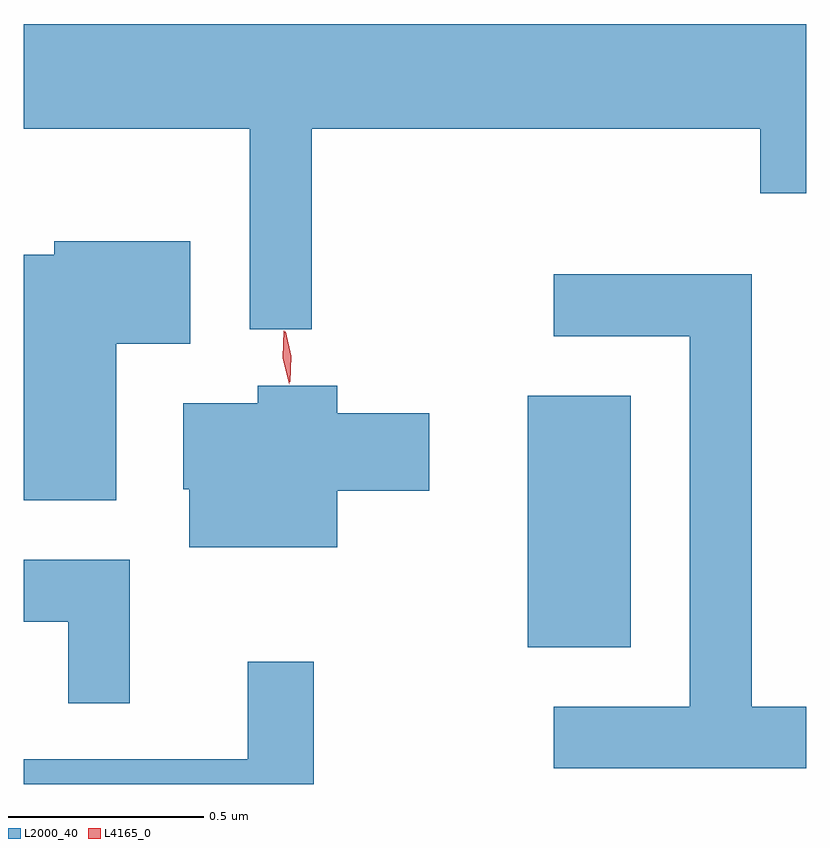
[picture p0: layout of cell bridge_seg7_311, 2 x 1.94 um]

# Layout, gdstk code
import gdstk
lib = gdstk.Library(unit=1e-6, precision=1e-09)
def R(c, l, rs):  # rectangles x0, y0, x1, y1
    for r in rs: c.add(gdstk.rectangle(r[:2], r[2:], *l))
def P(c, l, *ps):  # polygons
    for p in ps: c.add(gdstk.Polygon(p, *l))
L2000_40 = (2000, 40)
L4165_0 = (4165, 0)

bridge_seg7_311 = lib.new_cell('bridge_seg7_311')
R(bridge_seg7_311, L2000_40, [(1282.326,1737.411,1282.589,1738.054)])
P(bridge_seg7_311, L2000_40, [(1281.774,1738.736),(1282.921,1738.736),(1282.921,1738.571),(1283.038,1738.571),(1283.038,1739.004),(1281.038,1739.004),(1281.038,1738.736),(1281.616,1738.736),(1281.616,1738.223),(1281.774,1738.223)],
  [(1281.274,1738.186),(1281.464,1738.186),(1281.464,1738.449),(1281.116,1738.449),(1281.116,1738.414),(1281.038,1738.414),(1281.038,1737.786),(1281.274,1737.786)],
  [(1283.038,1737.259),(1282.899,1737.259),(1282.899,1738.364),(1282.393,1738.364),(1282.393,1738.206),(1282.741,1738.206),(1282.741,1737.259),(1282.393,1737.259),(1282.393,1737.101),(1283.038,1737.101)],
  [(1281.839,1737.811),(1282.074,1737.811),(1282.074,1738.009),(1281.839,1738.009),(1281.839,1738.079),(1281.636,1738.079),(1281.636,1738.034),(1281.446,1738.034),(1281.446,1737.815),(1281.461,1737.815),(1281.461,1737.666),(1281.839,1737.666)],
  [(1281.309,1737.634),(1281.038,1737.634),(1281.038,1737.476),(1281.151,1737.476),(1281.151,1737.268),(1281.309,1737.268)],
  [(1281.779,1737.373),(1281.611,1737.373),(1281.611,1737.124),(1281.038,1737.124),(1281.038,1737.061),(1281.779,1737.061)])
P(bridge_seg7_311, L4165_0, [(1281.716,1738.083),(1281.7,1738.151),(1281.703,1738.22),(1281.704,1738.22),(1281.704,1738.22),(1281.72,1738.152),(1281.717,1738.083),(1281.717,1738.083)],
  [(1281.719,1738.089),(1281.718,1738.09),(1281.703,1738.152),(1281.706,1738.217),(1281.706,1738.217),(1281.707,1738.217),(1281.722,1738.154),(1281.719,1738.09)])

lib.write_gds('bridge_seg7_311.gds')
